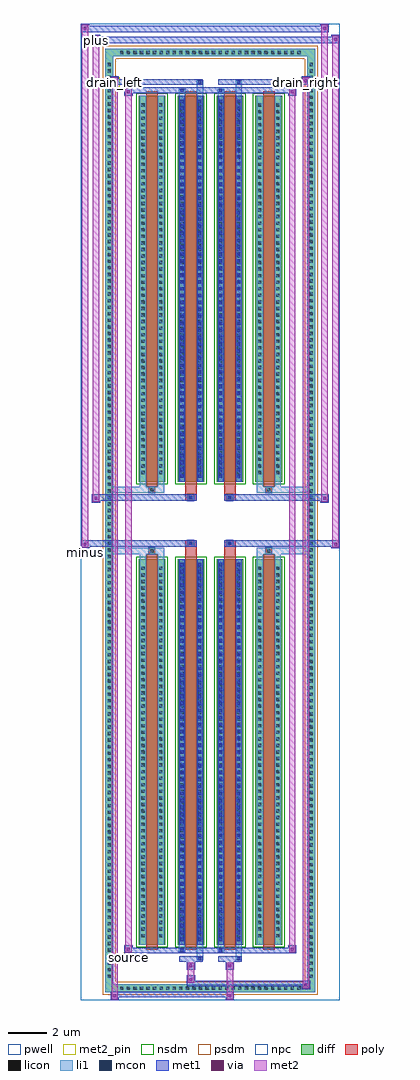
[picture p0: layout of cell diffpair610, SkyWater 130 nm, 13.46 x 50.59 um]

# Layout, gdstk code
import gdstk
lib = gdstk.Library(unit=1e-6, precision=5e-09)
def R(c, l, rs):  # rectangles x0, y0, x1, y1
    for r in rs: c.add(gdstk.rectangle(r[:2], r[2:], *l))
def A(c, l, x, y, w, h, nx, ny, dx, dy):  # array of equal rectangles
    R(c, l, [(x+i*dx, y+j*dy, x+i*dx+w, y+j*dy+h) for i in range(nx) for j in range(ny)])
def P(c, l, *ps):  # polygons
    for p in ps: c.add(gdstk.Polygon(p, *l))
pwell = (64, 44)
diff = (65, 20)
poly = (66, 20)
licon = (66, 44)
li1 = (67, 20)
mcon = (67, 44)
met1 = (68, 20)
via = (68, 44)
met2_pin = (69, 16)
met2 = (69, 20)
nsdm = (93, 44)
psdm = (94, 20)
npc = (95, 20)

diffpair610 = lib.new_cell('diffpair610')
R(diffpair610, pwell, [(-6.71,-24.86,6.71,25.73), (-4.03,-23.05,-0.01,-0.825), (0.01,-23.05,4.03,-0.825), (-4.03,0.825,-0.01,23.05), (0.01,0.825,4.03,23.05)])
A(diffpair610, diff, -4.795, -24.46, 0.41, 0.41, 28, 2, 0.34, 48.51)
A(diffpair610, diff, -5.44, -23.835, 0.41, 0.41, 1, 140, 0, 0.34)
A(diffpair610, diff, 5.03, -23.835, 0.41, 0.41, 1, 140, 0, 0.34)
A(diffpair610, diff, -3.72, -22.005, 1.38, 20, 4, 2, 2.02, 24.01)
R(diffpair610, diff, [(-4.795,-24.46,4.795,-24.05), (-5.44,-23.835,-5.03,23.835), (5.03,-23.835,5.44,23.835), (-4.795,24.05,4.795,24.46)])
P(diffpair610, diff, [(5.44,24.46),(-5.44,24.46),(-5.44,-24.05),(-5.03,-24.05),(-5.03,24.05),(5.03,24.05),(5.03,-24.05),(-5.03,-24.05),(-5.44,-24.05),(-5.44,-24.46),(5.44,-24.46)])
A(diffpair610, poly, -3.33, -22.255, 0.6, 20.5, 4, 2, 2.02, 24.01)
R(diffpair610, poly, [(-3.195,-1.755,-2.865,-1.425), (-3.195,-1.755,-2.865,-1.425), (-1.31,-1.755,-0.71,-1.355), (0.71,-1.755,1.31,-1.355), (2.865,-1.755,3.195,-1.425), (2.865,-1.755,3.195,-1.425), (-1.31,-1.355,-0.71,-1.025), (-1.175,-1.355,-0.845,-1.025), (0.71,-1.355,1.31,-1.025), (0.845,-1.355,1.175,-1.025), (-1.31,1.025,-0.71,1.355), (-1.175,1.025,-0.845,1.355), (0.71,1.025,1.31,1.355), (0.845,1.025,1.175,1.355), (-1.31,1.355,-0.71,1.755), (0.71,1.355,1.31,1.755), (-3.195,1.425,-2.865,1.755), (-3.195,1.425,-2.865,1.755), (2.865,1.425,3.195,1.755), (2.865,1.425,3.195,1.755)])
A(diffpair610, licon, -4.675, -24.34, 0.17, 0.17, 28, 2, 0.34, 48.51)
A(diffpair610, licon, -5.32, -23.715, 0.17, 0.17, 1, 140, 0, 0.34)
A(diffpair610, licon, 5.15, -23.715, 0.17, 0.17, 1, 140, 0, 0.34)
A(diffpair610, licon, -3.58, -21.61, 0.17, 0.17, 1, 57, 0, 0.34)
A(diffpair610, licon, -2.65, -21.61, 0.17, 0.17, 1, 57, 0, 0.34)
A(diffpair610, licon, -1.56, -21.61, 0.17, 0.17, 1, 57, 0, 0.34)
A(diffpair610, licon, -0.63, -21.61, 0.17, 0.17, 1, 57, 0, 0.34)
A(diffpair610, licon, 0.46, -21.61, 0.17, 0.17, 1, 57, 0, 0.34)
A(diffpair610, licon, 1.39, -21.61, 0.17, 0.17, 1, 57, 0, 0.34)
A(diffpair610, licon, 2.48, -21.61, 0.17, 0.17, 1, 57, 0, 0.34)
A(diffpair610, licon, 3.41, -21.61, 0.17, 0.17, 1, 57, 0, 0.34)
A(diffpair610, licon, -3.58, 2.4, 0.17, 0.17, 1, 57, 0, 0.34)
A(diffpair610, licon, -2.65, 2.4, 0.17, 0.17, 1, 57, 0, 0.34)
A(diffpair610, licon, -1.56, 2.4, 0.17, 0.17, 1, 57, 0, 0.34)
A(diffpair610, licon, -0.63, 2.4, 0.17, 0.17, 1, 57, 0, 0.34)
A(diffpair610, licon, 0.46, 2.4, 0.17, 0.17, 1, 57, 0, 0.34)
A(diffpair610, licon, 1.39, 2.4, 0.17, 0.17, 1, 57, 0, 0.34)
A(diffpair610, licon, 2.48, 2.4, 0.17, 0.17, 1, 57, 0, 0.34)
A(diffpair610, licon, 3.41, 2.4, 0.17, 0.17, 1, 57, 0, 0.34)
R(diffpair610, licon, [(-3.115,-1.675,-2.945,-1.505), (2.945,-1.675,3.115,-1.505), (-1.095,-1.275,-0.925,-1.105), (0.925,-1.275,1.095,-1.105), (-1.095,1.105,-0.925,1.275), (0.925,1.105,1.095,1.275), (-3.115,1.505,-2.945,1.675), (2.945,1.505,3.115,1.675)])
A(diffpair610, li1, -4.755, -24.42, 0.33, 0.33, 28, 2, 0.34, 48.51)
A(diffpair610, li1, -5.4, -23.795, 0.33, 0.33, 1, 140, 0, 0.34)
A(diffpair610, li1, 5.07, -23.795, 0.33, 0.33, 1, 140, 0, 0.34)
A(diffpair610, li1, -1.56, -21.81, 0.17, 0.17, 1, 55, 0, 0.36)
A(diffpair610, li1, -0.63, -21.81, 0.17, 0.17, 1, 55, 0, 0.36)
A(diffpair610, li1, 0.46, -21.81, 0.17, 0.17, 1, 55, 0, 0.36)
A(diffpair610, li1, 1.39, -21.81, 0.17, 0.17, 1, 55, 0, 0.36)
A(diffpair610, li1, -3.66, -21.69, 0.33, 0.33, 1, 57, 0, 0.34)
A(diffpair610, li1, -2.73, -21.69, 0.33, 0.33, 1, 57, 0, 0.34)
A(diffpair610, li1, -1.64, -21.69, 0.33, 0.33, 1, 57, 0, 0.34)
A(diffpair610, li1, -0.71, -21.69, 0.33, 0.33, 1, 57, 0, 0.34)
A(diffpair610, li1, 0.38, -21.69, 0.33, 0.33, 1, 57, 0, 0.34)
A(diffpair610, li1, 1.31, -21.69, 0.33, 0.33, 1, 57, 0, 0.34)
A(diffpair610, li1, 2.4, -21.69, 0.33, 0.33, 1, 57, 0, 0.34)
A(diffpair610, li1, 3.33, -21.69, 0.33, 0.33, 1, 57, 0, 0.34)
A(diffpair610, li1, -1.56, 2.2, 0.17, 0.17, 1, 55, 0, 0.36)
A(diffpair610, li1, -0.63, 2.2, 0.17, 0.17, 1, 55, 0, 0.36)
A(diffpair610, li1, 0.46, 2.2, 0.17, 0.17, 1, 55, 0, 0.36)
A(diffpair610, li1, 1.39, 2.2, 0.17, 0.17, 1, 55, 0, 0.36)
A(diffpair610, li1, -3.66, 2.32, 0.33, 0.33, 1, 57, 0, 0.34)
A(diffpair610, li1, -2.73, 2.32, 0.33, 0.33, 1, 57, 0, 0.34)
A(diffpair610, li1, -1.64, 2.32, 0.33, 0.33, 1, 57, 0, 0.34)
A(diffpair610, li1, -0.71, 2.32, 0.33, 0.33, 1, 57, 0, 0.34)
A(diffpair610, li1, 0.38, 2.32, 0.33, 0.33, 1, 57, 0, 0.34)
A(diffpair610, li1, 1.31, 2.32, 0.33, 0.33, 1, 57, 0, 0.34)
A(diffpair610, li1, 2.4, 2.32, 0.33, 0.33, 1, 57, 0, 0.34)
A(diffpair610, li1, 3.33, 2.32, 0.33, 0.33, 1, 57, 0, 0.34)
R(diffpair610, li1, [(-5.44,-24.46,-5.03,-24.05), (-5.44,-24.46,-5.03,-24.05), (-5.03,-24.46,5.03,-24.05), (5.03,-24.46,5.44,-24.05), (5.03,-24.46,5.44,-24.05), (-5.44,-24.05,-5.03,24.05), (5.03,-24.05,5.44,24.05), (-0.71,-22.81,-0.38,-22.005), (-0.63,-22.81,-0.46,-22.64), (1.31,-22.81,1.64,-22.005), (1.39,-22.81,1.56,-22.64), (-1.64,-22.38,-1.31,-22.005), (-1.56,-22.38,-1.39,-22.21), (0.38,-22.38,0.71,-22.005), (0.46,-22.38,0.63,-22.21), (-3.66,-22.005,-3.33,-2.005), (-2.73,-22.005,-2.4,-2.005), (-1.64,-22.005,-1.31,-2.005), (-0.71,-22.005,-0.38,-2.005), (0.38,-22.005,0.71,-2.005), (1.31,-22.005,1.64,-2.005), (2.4,-22.005,2.73,-2.005), (3.33,-22.005,3.66,-2.005), (-1.56,-21.81,-1.39,-2.2), (-0.63,-21.81,-0.46,-2.2), (0.46,-21.81,0.63,-2.2), (1.39,-21.81,1.56,-2.2), (-3.66,-2.005,-3.33,-1.425), (-2.73,-2.005,-2.4,-1.425), (2.4,-2.005,2.73,-1.425), (3.33,-2.005,3.66,-1.425), (-5.44,-1.755,-3.195,-1.425), (-3.66,-1.755,-3.195,-1.425), (-3.195,-1.755,-2.865,-1.425), (-2.865,-1.755,-2.4,-1.425), (2.4,-1.755,2.865,-1.425), (2.865,-1.755,3.195,-1.425), (2.865,-1.755,5.44,-1.425), (3.195,-1.755,3.66,-1.425), (-1.175,-1.355,-0.845,-1.025), (0.845,-1.355,1.175,-1.025), (-1.175,1.025,-0.845,1.355), (0.845,1.025,1.175,1.355), (-5.44,1.425,-3.195,1.755), (-3.66,1.425,-3.195,1.755), (-3.66,1.425,-3.33,2.005), (-3.195,1.425,-2.865,1.755), (-2.865,1.425,-2.4,1.755), (-2.73,1.425,-2.4,2.005), (2.4,1.425,2.865,1.755), (2.4,1.425,2.73,2.005), (2.865,1.425,3.195,1.755), (2.865,1.425,5.44,1.755), (3.195,1.425,3.66,1.755), (3.33,1.425,3.66,2.005), (-3.66,2.005,-3.33,22.005), (-2.73,2.005,-2.4,22.005), (-1.64,2.005,-1.31,22.005), (-0.71,2.005,-0.38,22.005), (0.38,2.005,0.71,22.005), (1.31,2.005,1.64,22.005), (2.4,2.005,2.73,22.005), (3.33,2.005,3.66,22.005), (-1.56,2.2,-1.39,21.81), (-0.63,2.2,-0.46,21.81), (0.46,2.2,0.63,21.81), (1.39,2.2,1.56,21.81), (-1.64,22.005,-1.31,22.38), (-0.71,22.005,-0.38,22.81), (0.38,22.005,0.71,22.38), (1.31,22.005,1.64,22.81), (-1.56,22.21,-1.39,22.38), (0.46,22.21,0.63,22.38), (-0.63,22.64,-0.46,22.81), (1.39,22.64,1.56,22.81), (-5.44,24.05,-5.03,24.46), (-5.44,24.05,-5.03,24.46), (-5.03,24.05,5.03,24.46), (5.03,24.05,5.44,24.46), (5.03,24.05,5.44,24.46)])
A(diffpair610, mcon, -1.56, -21.81, 0.17, 0.17, 1, 55, 0, 0.36)
A(diffpair610, mcon, -0.63, -21.81, 0.17, 0.17, 1, 55, 0, 0.36)
A(diffpair610, mcon, 0.46, -21.81, 0.17, 0.17, 1, 55, 0, 0.36)
A(diffpair610, mcon, 1.39, -21.81, 0.17, 0.17, 1, 55, 0, 0.36)
A(diffpair610, mcon, -1.56, 2.2, 0.17, 0.17, 1, 55, 0, 0.36)
A(diffpair610, mcon, -0.63, 2.2, 0.17, 0.17, 1, 55, 0, 0.36)
A(diffpair610, mcon, 0.46, 2.2, 0.17, 0.17, 1, 55, 0, 0.36)
A(diffpair610, mcon, 1.39, 2.2, 0.17, 0.17, 1, 55, 0, 0.36)
R(diffpair610, mcon, [(-0.63,-22.81,-0.46,-22.64), (1.39,-22.81,1.56,-22.64), (-1.56,-22.38,-1.39,-22.21), (0.46,-22.38,0.63,-22.21), (-1.095,-1.275,-0.925,-1.105), (0.925,-1.275,1.095,-1.105), (-1.095,1.105,-0.925,1.275), (0.925,1.105,1.095,1.275), (-1.56,22.21,-1.39,22.38), (0.46,22.21,0.63,22.38), (-0.63,22.64,-0.46,22.81), (1.39,22.64,1.56,22.81)])
A(diffpair610, met1, -1.62, -21.87, 0.29, 0.29, 1, 55, 0, 0.36)
A(diffpair610, met1, -0.69, -21.87, 0.29, 0.29, 1, 55, 0, 0.36)
A(diffpair610, met1, 0.4, -21.87, 0.29, 0.29, 1, 55, 0, 0.36)
A(diffpair610, met1, 1.33, -21.87, 0.29, 0.29, 1, 55, 0, 0.36)
A(diffpair610, met1, -1.62, 2.14, 0.29, 0.29, 1, 55, 0, 0.36)
A(diffpair610, met1, -0.69, 2.14, 0.29, 0.29, 1, 55, 0, 0.36)
A(diffpair610, met1, 0.4, 2.14, 0.29, 0.29, 1, 55, 0, 0.36)
A(diffpair610, met1, 1.33, 2.14, 0.29, 0.29, 1, 55, 0, 0.36)
R(diffpair610, met1, [(-5.17,-24.86,-4.74,-24.43), (0.795,-24.86,1.225,-24.43), (-5.17,-24.72,1.225,-24.43), (4.74,-24.29,5.17,-23.86), (-1.225,-24.15,5.17,-23.86), (-1.225,-24.01,-0.795,-23.58), (-1.225,-23.3,-0.795,-22.87), (0.795,-23.3,1.225,-22.87), (-1.62,-22.87,-0.4,-22.58), (-0.69,-22.87,-0.4,-22.58), (0.4,-22.87,1.62,-22.58), (1.33,-22.87,1.62,-22.58), (-4.46,-22.44,-4.03,-22.01), (-4.46,-22.44,-1.62,-22.15), (-1.62,-22.44,-1.33,-22.15), (-1.62,-22.44,-0.4,-22.15), (-0.4,-22.44,0.4,-22.15), (0.4,-22.44,0.69,-22.15), (0.4,-22.44,1.62,-22.15), (1.62,-22.44,4.46,-22.15), (4.03,-22.44,4.46,-22.01), (-1.62,-22.005,-1.33,-2.005), (-0.69,-22.005,-0.4,-2.005), (0.4,-22.005,0.69,-2.005), (1.33,-22.005,1.62,-2.005), (-6.71,-1.455,-6.28,-1.025), (6.28,-1.455,6.71,-1.025), (-6.71,-1.355,-0.71,-1.025), (-1.31,-1.355,-0.71,-1.025), (0.71,-1.355,1.31,-1.025), (0.71,-1.355,6.71,-1.025), (-1.155,-1.335,-0.865,-1.045), (0.865,-1.335,1.155,-1.045), (-6.14,0.925,-5.71,1.355), (5.71,0.925,6.14,1.355), (-6.14,1.025,-1.31,1.355), (-1.31,1.025,-0.71,1.355), (0.71,1.025,1.31,1.355), (1.31,1.025,6.14,1.355), (-1.155,1.045,-0.865,1.335), (0.865,1.045,1.155,1.335), (-1.62,2.005,-1.33,22.005), (-0.69,2.005,-0.4,22.005), (0.4,2.005,0.69,22.005), (1.33,2.005,1.62,22.005), (-4.46,22.01,-4.03,22.44), (4.03,22.01,4.46,22.44), (-4.46,22.15,-1.62,22.44), (-1.62,22.15,-1.33,22.44), (-1.62,22.15,-0.4,22.44), (-0.4,22.15,0.4,22.44), (0.4,22.15,0.69,22.44), (0.4,22.15,1.62,22.44), (1.62,22.15,4.46,22.44), (-5.17,22.58,-4.74,23.01), (-5.17,22.58,-1.62,22.87), (-1.62,22.58,-0.4,22.87), (-0.69,22.58,-0.4,22.87), (0.4,22.58,1.62,22.87), (1.33,22.58,1.62,22.87), (1.62,22.58,5.17,22.87), (4.74,22.58,5.17,23.01), (-6.14,24.73,-5.71,25.16), (-6.14,24.73,-4.03,25.06), (-4.03,24.73,4.03,25.06), (4.03,24.73,6.71,25.06), (6.28,24.73,6.71,25.16), (-6.71,25.3,-6.28,25.73), (-6.71,25.3,-4.03,25.63), (-4.03,25.3,4.03,25.63), (4.03,25.3,6.14,25.63), (5.71,25.3,6.14,25.73)])
R(diffpair610, via, [(-5.03,-24.72,-4.88,-24.57), (0.935,-24.72,1.085,-24.57), (4.88,-24.15,5.03,-24), (-1.085,-23.87,-0.935,-23.72), (-1.085,-23.16,-0.935,-23.01), (0.935,-23.16,1.085,-23.01), (-4.32,-22.3,-4.17,-22.15), (4.17,-22.3,4.32,-22.15), (-6.57,-1.315,-6.42,-1.165), (6.42,-1.315,6.57,-1.165), (-6,1.065,-5.85,1.215), (5.85,1.065,6,1.215), (-4.32,22.15,-4.17,22.3), (4.17,22.15,4.32,22.3), (-5.03,22.72,-4.88,22.87), (4.88,22.72,5.03,22.87), (-6,24.87,-5.85,25.02), (6.42,24.87,6.57,25.02), (-6.57,25.44,-6.42,25.59), (5.85,25.44,6,25.59)])
R(diffpair610, met2_pin, [(-4.495,-22.89,-3.995,-22.39), (-6.745,-1.905,-6.245,-1.405), (-5.205,22.46,-4.705,22.96), (4.705,22.46,5.205,22.96), (-6.175,24.61,-5.675,25.11)])
R(diffpair610, met2, [(-5.12,-24.81,-4.79,-24.48), (-5.12,-24.81,-4.79,22.96), (0.845,-24.81,1.175,-24.48), (0.845,-24.48,1.175,-23.25), (4.79,-24.24,5.12,-23.91), (4.79,-24.24,5.12,22.96), (-1.175,-23.96,-0.845,-23.63), (-1.175,-23.63,-0.845,-23.25), (-1.175,-23.25,-0.845,-22.92), (0.845,-23.25,1.175,-22.92), (-4.41,-22.39,-4.08,-22.06), (-4.41,-22.39,-4.08,22.39), (4.08,-22.39,4.41,-22.06), (4.08,-22.39,4.41,22.39), (-6.66,-1.405,-6.33,-1.075), (-6.66,-1.405,-6.33,25.68), (6.33,-1.405,6.66,-1.075), (6.33,-1.405,6.66,25.11), (-6.09,0.975,-5.76,1.305), (-6.09,0.975,-5.76,25.11), (5.76,0.975,6.09,1.305), (5.76,0.975,6.09,25.68), (-4.41,22.06,-4.08,22.39), (4.08,22.06,4.41,22.39), (-5.12,22.63,-4.79,22.96), (4.79,22.63,5.12,22.96), (-6.09,24.78,-5.76,25.11), (6.33,24.78,6.66,25.11), (-6.66,25.35,-6.33,25.68), (5.76,25.35,6.09,25.68)])
P(diffpair610, met2, [(6.66,-1.405),(6.66,-1.405),(6.66,-1.075),(6.66,-1.075)],
  [(6.66,24.78),(6.66,24.78),(6.66,25.11),(6.66,25.11)],
  [(-6.33,-1.405),(-6.33,-1.405),(-6.33,-1.075),(-6.33,-1.075)],
  [(-6.33,25.35),(-6.33,25.35),(-6.33,25.68),(-6.33,25.68)],
  [(6.09,0.975),(6.09,0.975),(6.09,1.305),(6.09,1.305)],
  [(6.09,25.35),(6.09,25.35),(6.09,25.68),(6.09,25.68)],
  [(-5.76,0.975),(-5.76,0.975),(-5.76,1.305),(-5.76,1.305)],
  [(-5.76,24.78),(-5.76,24.78),(-5.76,25.11),(-5.76,25.11)],
  [(-4.79,-24.81),(-4.79,-24.81),(-4.79,-24.48),(-4.79,-24.48)],
  [(-4.79,22.63),(-4.79,22.63),(-4.79,22.96),(-4.79,22.96)],
  [(5.12,-24.24),(5.12,-24.24),(5.12,-23.91),(5.12,-23.91)],
  [(5.12,22.63),(5.12,22.63),(5.12,22.96),(5.12,22.96)],
  [(-4.08,-22.39),(-4.08,-22.39),(-4.08,-22.06),(-4.08,-22.06)],
  [(-4.08,22.06),(-4.08,22.06),(-4.08,22.39),(-4.08,22.39)],
  [(4.41,-22.39),(4.41,-22.39),(4.41,-22.06),(4.41,-22.06)],
  [(4.41,22.06),(4.41,22.06),(4.41,22.39),(4.41,22.39)])
A(diffpair610, nsdm, -3.85, -22.135, 1.64, 20.26, 4, 2, 2.02, 24.01)
P(diffpair610, psdm, [(5.57,24.59),(-5.57,24.59),(-5.57,-23.92),(-4.9,-23.92),(-4.9,23.92),(4.9,23.92),(4.9,-23.92),(-4.9,-23.92),(-5.57,-23.92),(-5.57,-24.59),(5.57,-24.59)])
R(diffpair610, npc, [(-3.215,-1.775,-2.845,-1.405), (2.845,-1.775,3.215,-1.405), (-1.195,-1.375,-0.825,-1.005), (0.825,-1.375,1.195,-1.005), (-1.195,1.005,-0.825,1.375), (0.825,1.005,1.195,1.375), (-3.215,1.405,-2.845,1.775), (2.845,1.405,3.215,1.775)])
diffpair610.add(gdstk.Label('minus', (-6.495,-1.655), layer=69, texttype=5))
diffpair610.add(gdstk.Label('drain_right', (4.955,22.71), layer=69, texttype=5))
diffpair610.add(gdstk.Label('drain_left', (-4.955,22.71), layer=69, texttype=5))
diffpair610.add(gdstk.Label('source', (-4.245,-22.64), layer=69, texttype=5))
diffpair610.add(gdstk.Label('plus', (-5.925,24.86), layer=69, texttype=5))

lib.write_gds('diffpair610.gds')
